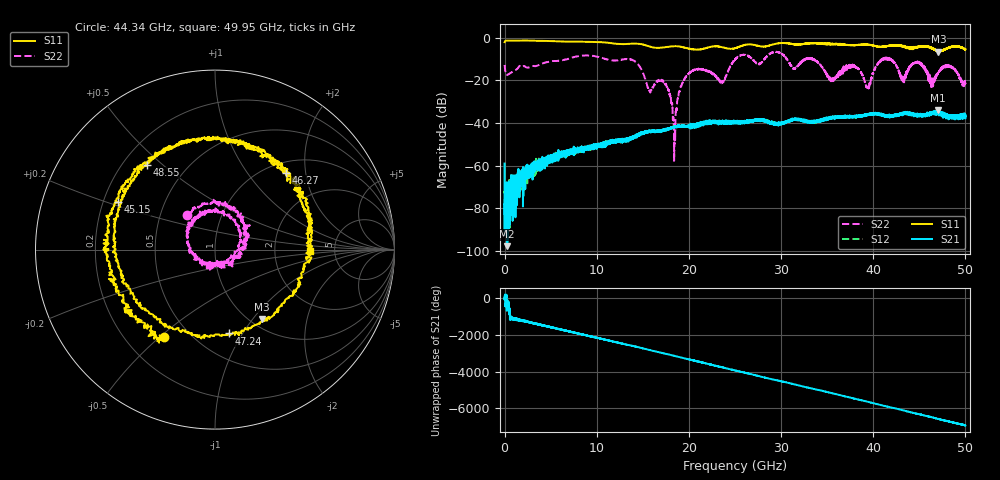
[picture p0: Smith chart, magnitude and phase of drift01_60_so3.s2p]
!Created with skrf (http://scikit-rf.org).
# Hz S RI R 50.0
!freq ReS11 ImS11 ReS21 ImS21 ReS12 ImS12 ReS22 ImS22
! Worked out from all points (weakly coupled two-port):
!   10001 points, 300 kHz to 50 GHz, reference 50 ohm
!   highest |S21| = -34.04 dB at 47.04 GHz (marker M1); lowest = -97.6 dB at 290.3 MHz (marker M2)
!   lowest |S11| = -6.6 dB at 47.07 GHz (marker M3), VSWR 2.75, Z = 56.2 - j55.7 ohm
!   |S11| at or under -10 dB: nowhere
!   |S22| runs from -57.7 to -6.7 dB; largest |S21 - S12| = 0.0035
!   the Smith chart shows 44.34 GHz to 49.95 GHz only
!   S11 on the Smith chart (normalised r, x): 44.34 GHz: 0.36, -0.52; 45.15 GHz: 0.26, +0.21; 46.27 GHz: 1.21, +1.57; 47.24 GHz: 0.73, -0.88; 48.55 GHz: 0.30, +0.44; 49.95 GHz: 3.25, -0.06
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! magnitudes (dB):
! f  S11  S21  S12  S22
! 300 kHz  -2.2  -58.9  -72.9  -12.8
! 290.3 MHz  -1.4  -97.6  -70.9  -17.5
! 8.335 GHz  -1.9  -52.0  -51.8  -8.5
! 16.67 GHz  -4.8  -43.6  -43.5  -19.9
! 17.74 GHz  -4.3  -42.8  -42.8  -24.3
! 18.45 GHz  -4.1  -41.8  -42.0  -45.2
! 19.95 GHz  -5.1  -41.5  -41.4  -17.0
! 23.63 GHz  -4.5  -39.8  -39.7  -20.7
! 25 GHz  -5.0  -39.8  -39.2  -10.2
! 33.34 GHz  -2.6  -39.9  -39.1  -10.0
! 39.43 GHz  -3.4  -36.3  -36.0  -23.8
! 41.67 GHz  -3.8  -36.7  -36.7  -10.0
! 43.25 GHz  -4.2  -35.5  -35.4  -18.6
! 44.34 GHz  -5.0  -35.9  -35.9  -12.2
! 45.15 GHz  -4.4  -36.4  -36.3  -12.1
! 46.27 GHz  -4.7  -36.1  -35.3  -20.9
! 47.04 GHz  -6.4  -34.0  -34.9  -16.7
! 47.07 GHz  -6.6  -34.9  -35.1  -16.2
! 47.24 GHz  -6.5  -35.4  -35.1  -15.2
! 48.55 GHz  -4.4  -36.6  -36.8  -14.1
! 49.95 GHz  -5.5  -36.5  -36.7  -20.9
! 50 GHz  -5.5  -37.8  -36.3  -22.2
